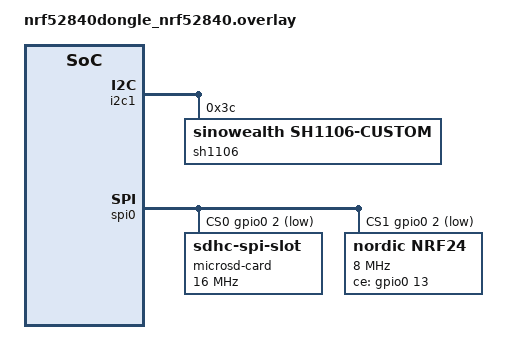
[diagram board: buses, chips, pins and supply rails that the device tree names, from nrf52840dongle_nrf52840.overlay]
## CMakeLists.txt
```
# SPDX-License-Identifier: Apache-2.0

cmake_minimum_required(VERSION 3.20.0)

get_filename_component(OOT_MODULE_DIR "${CMAKE_CURRENT_LIST_DIR}/../.." REALPATH)
list(APPEND EXTRA_ZEPHYR_MODULES "${OOT_MODULE_DIR}")

find_package(Zephyr REQUIRED HINTS $ENV{ZEPHYR_BASE})
project(z_nrf52_dongle)

target_sources(app PRIVATE src/main.c)
```

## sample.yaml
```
sample:
  name: nRF52840 Dongle LED sync demo
  description: Board-specific semaphore and dual-LED demo for the nRF52840 dongle
tests:
  sample.oot.z_nrf52_dongle:
    build_only: true
    platform_allow:
      - nrf52840dongle/nrf52840
    tags:
      - gpio
      - kernel
```

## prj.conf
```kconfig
CONFIG_GPIO=y
CONFIG_CONSOLE=y
CONFIG_CONSOLE_SUBSYS=y
CONFIG_CONSOLE_GETLINE=y
CONFIG_DISPLAY=y

#CONFIG_LOG=y
CONFIG_USB_DEVICE_STACK=y
CONFIG_USB_DEVICE_PRODUCT="Surya's USB dongle"
CONFIG_USB_DEVICE_PID=0x0004
CONFIG_USB_DEVICE_INITIALIZE_AT_BOOT=y
CONFIG_SERIAL=y
CONFIG_UART_CONSOLE=y
CONFIG_SD_DRV=y
CONFIG_SD_FAT32=y
CONFIG_OLED_SH1106=y
CONFIG_SH1106_GFX=y
CONFIG_MAIN_STACK_SIZE=2048

CONFIG_BOARD_HAS_NRF5_BOOTLOADER=n

CONFIG_DEBUG_THREAD_INFO=y
```

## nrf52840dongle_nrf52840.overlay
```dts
&i2c1 {
    status = "okay";
    sh1106:sh1106@3c{
        compatible="sinowealth,sh1106-custom";
        status="okay";
        reg=<0x3c>;
    }; 
};

&i2c0 {
    status = "disabled";
};

&spi1 {
    status = "disabled";
};

&spi0 {
    status = "okay";
    cs-gpios = < &gpio0 2 GPIO_ACTIVE_LOW >,< &gpio0 2 GPIO_ACTIVE_LOW >;
    
    microsd:microsd@0{
     compatible ="zephyr,sdhc-spi-slot";
     spi-max-frequency= <16000000>;
     status="okay";
     reg = <0>;
     label = "microsd-card";
    };

    nrf24:nrf24@1{
        compatible="nordic,nrf24";
        reg=<1>;
        spi-max-frequency=<8000000>;
        ce-gpios=<&gpio0 13 GPIO_ACTIVE_HIGH>;
        status="okay";
        label = "nrf24";
    };
};
```

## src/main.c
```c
/*
 * Copyright (c) 2016 Intel Corporation
 *
 * SPDX-License-Identifier: Apache-2.0
 */
#include <stddef.h>
#include <zephyr/kernel.h>
#include <zephyr/device.h>
#include <zephyr/drivers/gpio.h>
#include <zephyr/console/console.h>

#define MY_STACK_SIZE 2048
#define MY_PRIORITY 2

K_CONDVAR_DEFINE(condvar);
K_MUTEX_DEFINE(mutex);

K_SEM_DEFINE(sem, 0, 1);
/* 1000 msec = 1 sec */
#define SLEEP_TIME_MS 100

/* The devicetree node identifier for the "led0" alias. */
#define LED0_NODE DT_ALIAS(led0)
#define LED1_NODE DT_ALIAS(led1)

/*
 * A build error on this line means your board is unsupported.
 * See the sample documentation for information on how to fix this.
 */
static const struct gpio_dt_spec led0 = GPIO_DT_SPEC_GET(LED0_NODE, gpios);
static const struct gpio_dt_spec led1 = GPIO_DT_SPEC_GET(LED1_NODE, gpios);

uint8_t logCnt = 0;

int main(void)
{

	k_condvar_wait(&condvar, &mutex, K_FOREVER);
	
	while (1)
	{
		k_sem_give(&sem);
		k_msleep(500);
	}
	return 0;
}

int myThread0(void *, void *, void *)
{
	int ret;
	if (!gpio_is_ready_dt(&led0))
		return 0;
	ret = gpio_pin_configure_dt(&led0, GPIO_OUTPUT_INACTIVE);
	if (ret < 0)
		return 0;
	while (1)
	{

		if (k_sem_take(&sem, K_FOREVER) == 0)
		{

			gpio_pin_toggle_dt(&led0);
		}
	}
	return 0;
}

int myThread1(void *, void *, void *)
{

	int ret;
	if (!gpio_is_ready_dt(&led1))
		return 0;
	ret = gpio_pin_configure_dt(&led1, GPIO_OUTPUT_INACTIVE);
	if (ret < 0)
		return 0;

	while (1)
	{
		if (k_sem_take(&sem,K_FOREVER) == 0)
		{

			ret = gpio_pin_toggle_dt(&led1);
		}
		else
			printk("Timed out\n");
	}
	return 0;
}

K_THREAD_DEFINE(my_tid, MY_STACK_SIZE,
				myThread0, NULL, NULL, NULL,
				2, 0, 0);

K_THREAD_DEFINE(oled_tid, MY_STACK_SIZE,
				myThread1, NULL, NULL, NULL,
				MY_PRIORITY, 0, 0);
```
